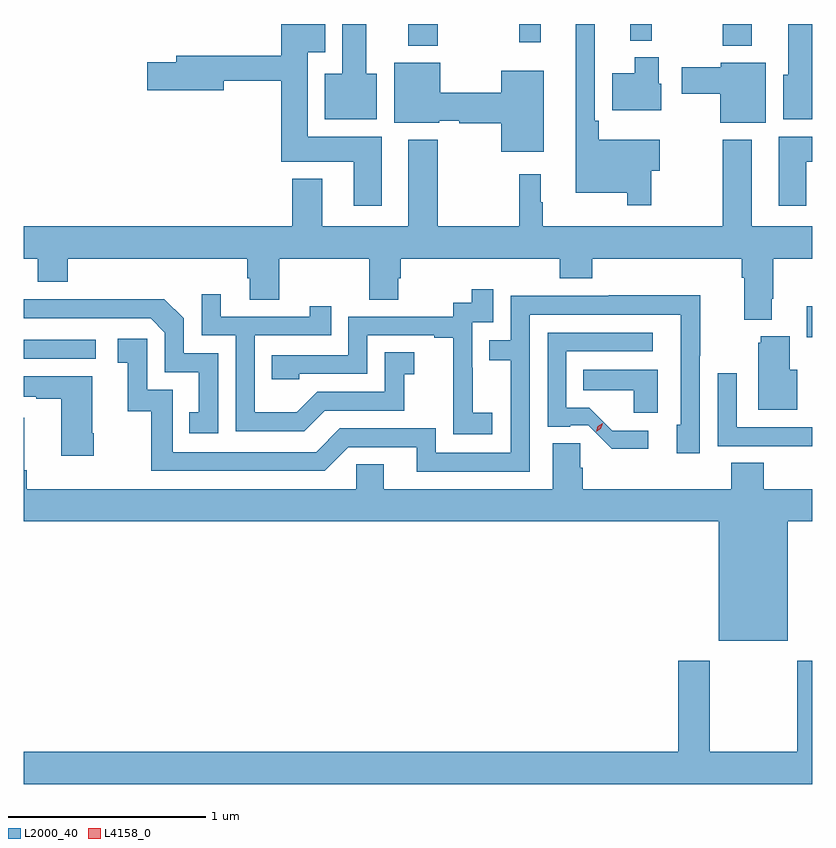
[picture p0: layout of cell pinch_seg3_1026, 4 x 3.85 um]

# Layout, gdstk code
import gdstk
lib = gdstk.Library(unit=1e-6, precision=1e-09)
def R(c, l, rs):  # rectangles x0, y0, x1, y1
    for r in rs: c.add(gdstk.rectangle(r[:2], r[2:], *l))
def P(c, l, *ps):  # polygons
    for p in ps: c.add(gdstk.Polygon(p, *l))
L2000_40 = (2000, 40)
L4158_0 = (4158, 0)

pinch_seg3_1026 = lib.new_cell('pinch_seg3_1026')
R(pinch_seg3_1026, L2000_40, [(508.366,671.106,508.732,671.202), (512.339,671.215,512.366,671.371), (510.317,672.692,510.465,672.803), (511.912,672.692,512.059,672.803), (510.879,672.711,510.989,672.803), (511.442,672.719,511.552,672.803)])
P(pinch_seg3_1026, L2000_40, [(512.366,672.55),(512.365,672.55),(512.365,672.803),(512.243,672.803),(512.243,672.546),(512.219,672.546),(512.219,672.32),(512.366,672.32)],
  [(511.549,672.059),(511.591,672.059),(511.591,672.217),(511.283,672.217),(511.283,672.313),(511.263,672.313),(511.263,672.803),(511.166,672.803),(511.166,671.948),(511.428,671.948),(511.428,671.883),(511.549,671.883)],
  [(510.157,672.55),(510.103,672.55),(510.103,672.803),(509.981,672.803),(509.981,672.55),(509.894,672.55),(509.894,672.32),(510.157,672.32)],
  [(510.181,672.232),(509.806,672.232),(509.806,672.659),(509.896,672.659),(509.896,672.803),(509.672,672.803),(509.672,672.643),(509.141,672.643),(509.141,672.609),(508.992,672.609),(508.992,672.467),(509.38,672.467),(509.38,672.514),(509.672,672.514),(509.672,672.104),(510.041,672.104),(510.041,671.88),(510.181,671.88)],
  [(511.6,672.501),(511.588,672.501),(511.588,672.634),(511.466,672.634),(511.466,672.553),(511.352,672.553),(511.352,672.365),(511.6,672.365)],
  [(511.003,672.565),(510.788,672.565),(510.788,672.455),(510.478,672.455),(510.478,672.607),(510.245,672.607),(510.245,672.302),(510.474,672.302),(510.474,672.311),(510.574,672.311),(510.574,672.299),(510.788,672.299),(510.788,672.155),(511.003,672.155)],
  [(512.131,672.607),(511.902,672.607),(511.902,672.583),(511.704,672.583),(511.704,672.449),(511.898,672.449),(511.898,672.302),(512.131,672.302)],
  [(512.335,672.104),(512.366,672.104),(512.366,672.232),(512.195,672.232),(512.195,671.88),(512.335,671.88)],
  [(510.879,672.04),(510.879,671.776),(510.465,671.776),(510.465,672.217),(510.317,672.217),(510.317,671.776),(509.881,671.776),(509.881,672.019),(509.729,672.019),(509.729,671.776),(508.366,671.776),(508.366,671.612),(508.436,671.612),(508.436,671.495),(508.589,671.495),(508.589,671.612),(509.501,671.612),(509.501,671.514),(509.513,671.514),(509.513,671.404),(509.661,671.404),(509.661,671.612),(510.118,671.612),(510.118,671.404),(510.265,671.404),(510.265,671.514),(510.278,671.514),(510.278,671.612),(511.085,671.612),(511.085,671.513),(511.25,671.513),(511.25,671.612),(512.009,671.612),(512.009,671.516),(512.021,671.516),(512.021,671.303),(512.161,671.303),(512.161,671.41),(512.169,671.41),(512.169,671.612),(512.366,671.612),(512.366,671.776),(512.059,671.776),(512.059,672.217),(511.912,672.217),(511.912,671.776),(511,671.776),(511,671.9),(510.988,671.9),(510.988,672.04)],
  [(510.742,670.831),(510.644,670.831),(510.644,671.06),(510.642,671.06),(510.642,671.289),(510.747,671.289),(510.747,671.458),(510.639,671.458),(510.639,671.388),(510.546,671.388),(510.546,671.319),(510.012,671.319),(510.012,671.124),(509.623,671.124),(509.623,671.001),(509.763,671.001),(509.763,671.028),(510.108,671.028),(510.108,671.223),(510.449,671.223),(510.449,671.211),(510.545,671.211),(510.545,670.927),(510.544,670.927),(510.544,670.721),(510.742,670.721)],
  [(509.893,670.842),(510.297,670.842),(510.297,671.027),(510.346,671.027),(510.346,671.137),(510.198,671.137),(510.198,670.938),(509.856,670.938),(509.752,670.834),(509.538,670.834),(509.538,671.223),(509.927,671.223),(509.927,671.371),(509.816,671.371),(509.816,671.319),(509.365,671.319),(509.365,671.431),(509.268,671.431),(509.268,671.223),(509.442,671.223),(509.442,670.737),(509.788,670.737)],
  [(510.933,671.328),(511.698,671.328),(511.698,670.77),(511.679,670.77),(511.679,670.626),(511.794,670.626),(511.794,671.119),(511.797,671.119),(511.797,671.426),(511.333,671.426),(511.333,671.424),(510.837,671.424),(510.837,671.199),(510.727,671.199),(510.727,671.098),(510.837,671.098),(510.837,670.629),(510.456,670.629),(510.456,670.752),(509.97,670.752),(509.85,670.632),(509.121,670.632),(509.121,670.947),(508.992,670.947),(508.992,671.206),(508.842,671.206),(508.842,671.085),(508.895,671.085),(508.895,670.839),(509.013,670.839),(509.013,670.536),(509.892,670.536),(510.012,670.656),(510.359,670.656),(510.359,670.533),(510.933,670.533)],
  [(509.352,671.133),(509.178,671.133),(509.178,671.31),(509.08,671.408),(508.672,671.408),(508.672,671.406),(508.366,671.406),(508.366,671.31),(509.01,671.31),(509.082,671.238),(509.082,671.037),(509.255,671.037),(509.255,670.833),(509.206,670.833),(509.206,670.728),(509.352,670.728)],
  [(511.534,670.74),(511.351,670.74),(511.234,670.857),(511.119,670.857),(511.119,671.142),(511.558,671.142),(511.558,671.238),(511.023,671.238),(511.023,670.761),(511.137,670.761),(511.137,670.767),(511.229,670.767),(511.348,670.649),(511.534,670.649)],
  [(512.29,671.05),(512.251,671.05),(512.251,671.218),(512.105,671.218),(512.105,671.187),(512.093,671.187),(512.093,670.847),(512.29,670.847)],
  [(511.582,671.05),(511.204,671.05),(511.204,670.946),(511.46,670.946),(511.46,670.831),(511.582,670.831)],
  [(512.366,670.758),(511.983,670.758),(511.983,671.032),(511.887,671.032),(511.887,670.662),(512.203,670.662),(512.203,670.661),(512.366,670.661)],
  [(508.722,670.726),(508.714,670.726),(508.714,671.017),(508.366,671.017),(508.366,670.913),(508.43,670.913),(508.43,670.903),(508.556,670.903),(508.556,670.614),(508.722,670.614)],
  [(512.242,670.28),(512.366,670.28),(512.366,670.444),(512.12,670.444),(512.12,670.577),(511.955,670.577),(511.955,670.444),(511.202,670.444),(511.202,670.553),(511.188,670.553),(511.188,670.676),(511.049,670.676),(511.049,670.444),(510.193,670.444),(510.193,670.571),(510.054,670.571),(510.054,670.444),(508.382,670.444),(508.382,670.54),(508.369,670.54),(508.369,670.807),(508.366,670.807),(508.366,670.28),(511.892,670.28),(511.892,669.674),(512.242,669.674)],
  [(512.366,669.574),(512.29,669.574),(512.29,669.112),(511.845,669.112),(511.845,669.574),(511.685,669.574),(511.685,669.112),(508.366,669.112),(508.366,668.948),(512.366,668.948)])
P(pinch_seg3_1026, L4158_0, [(511.269,670.736),(511.269,670.736),(511.279,670.763),(511.304,670.777),(511.304,670.777),(511.304,670.777),(511.294,670.75),(511.269,670.736)])

lib.write_gds('pinch_seg3_1026.gds')
